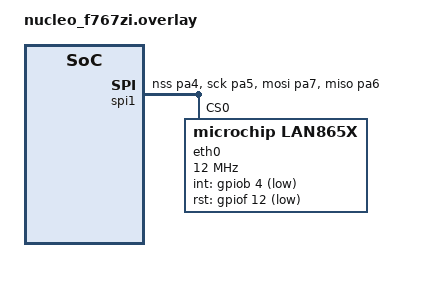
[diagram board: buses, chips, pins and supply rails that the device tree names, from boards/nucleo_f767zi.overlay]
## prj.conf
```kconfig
# Generic networking options
CONFIG_NETWORKING=y
CONFIG_NET_UDP=y
CONFIG_NET_TCP=y
CONFIG_NET_IPV6=y
CONFIG_NET_IPV4=y
CONFIG_NET_SOCKETS=y
CONFIG_POSIX_API=y
CONFIG_NET_CONNECTION_MANAGER=y

# Kernel options
CONFIG_MAIN_STACK_SIZE=2048
CONFIG_ENTROPY_GENERATOR=y
CONFIG_TEST_RANDOM_GENERATOR=y
CONFIG_INIT_STACKS=y

# Logging
CONFIG_NET_LOG=y
CONFIG_LOG=y
CONFIG_NET_STATISTICS=y
CONFIG_PRINTK=y

# Network buffers
CONFIG_NET_PKT_RX_COUNT=16
CONFIG_NET_PKT_TX_COUNT=16
CONFIG_NET_BUF_RX_COUNT=64
CONFIG_NET_BUF_TX_COUNT=64
CONFIG_NET_CONTEXT_NET_PKT_POOL=y

# IP address options
CONFIG_NET_IF_UNICAST_IPV6_ADDR_COUNT=3
CONFIG_NET_IF_MCAST_IPV6_ADDR_COUNT=4
CONFIG_NET_MAX_CONTEXTS=10

# Network shell
CONFIG_NET_SHELL=y
CONFIG_SHELL=y

# Network application options and configuration
CONFIG_NET_CONFIG_SETTINGS=y
CONFIG_NET_CONFIG_NEED_IPV6=y
CONFIG_NET_CONFIG_MY_IPV6_ADDR="2001:db8::1"
CONFIG_NET_CONFIG_PEER_IPV6_ADDR="2001:db8::2"
CONFIG_NET_CONFIG_NEED_IPV4=y
CONFIG_NET_CONFIG_MY_IPV4_ADDR="192.0.2.1"
CONFIG_NET_CONFIG_PEER_IPV4_ADDR="192.0.2.2"

# Number of socket descriptors might need adjusting
# if there are more than 1 handlers defined.
CONFIG_ZVFS_OPEN_MAX=12

# How many client can connect to echo-server simultaneously
CONFIG_NET_SAMPLE_NUM_HANDLERS=1
```

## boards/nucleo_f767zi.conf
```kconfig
# Generic networking options
# CONFIG_NETWORKING=y
# CONFIG_NET_UDP=y
# CONFIG_NET_TCP=y
# CONFIG_NET_IPV6=n
# CONFIG_NET_IPV4=y
# CONFIG_NET_SOCKETS=y
# CONFIG_POSIX_API=y
# CONFIG_NET_CONNECTION_MANAGER=y

# Kernel options
# CONFIG_MAIN_STACK_SIZE=2048
# CONFIG_ENTROPY_GENERATOR=y
# CONFIG_TEST_RANDOM_GENERATOR=y
# CONFIG_INIT_STACKS=y

# Logging
CONFIG_NET_LOG=y
CONFIG_LOG=y
CONFIG_NET_STATISTICS=y
CONFIG_PRINTK=y

# Network buffers
# CONFIG_NET_PKT_RX_COUNT=4
# CONFIG_NET_PKT_TX_COUNT=4
# CONFIG_NET_BUF_RX_COUNT=32
# CONFIG_NET_BUF_TX_COUNT=32
# CONFIG_NET_CONTEXT_NET_PKT_POOL=y

# IP address options
# CONFIG_NET_IF_UNICAST_IPV6_ADDR_COUNT=3
# CONFIG_NET_IF_MCAST_IPV6_ADDR_COUNT=4
# CONFIG_NET_IF_MAX_IPV4_COUNT=2
# CONFIG_NET_MAX_CONTEXTS=10

# Network shell
CONFIG_SERIAL=y
CONFIG_SHELL=y
CONFIG_SHELL_BACKEND_SERIAL=y
CONFIG_NET_SHELL=y

# Network application options and configuration
# CONFIG_NET_CONFIG_SETTINGS=y
# CONFIG_NET_CONFIG_NEED_IPV4=y
# CONFIG_NET_CONFIG_MY_IPV4_ADDR="10.25.11.22"

# Number of socket descriptors might need adjusting
# if there are more than 1 handlers defined.
# CONFIG_ZVFS_OPEN_MAX=12

# IP address options
# CONFIG_NET_MAX_CONTEXTS=2
# CONFIG_NET_MAX_CONN=2

# LAN865x T1S driver specific
CONFIG_NET_L2_ETHERNET=y
CONFIG_NET_PROMISCUOUS_MODE=y
CONFIG_ETH_LAN865X=y
CONFIG_NET_BUF_DATA_SIZE=96

# Debug options
CONFIG_DEBUG_THREAD_INFO=y
```

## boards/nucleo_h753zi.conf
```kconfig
# Generic networking options
CONFIG_NETWORKING=y
CONFIG_NET_UDP=n
CONFIG_NET_TCP=y
CONFIG_NET_IPV6=n
CONFIG_NET_IPV4=y
CONFIG_NET_SOCKETS=y
CONFIG_POSIX_API=y
CONFIG_NET_CONNECTION_MANAGER=y

# Kernel options
CONFIG_MAIN_STACK_SIZE=2048
CONFIG_ENTROPY_GENERATOR=y
CONFIG_TEST_RANDOM_GENERATOR=y
CONFIG_INIT_STACKS=y

# Logging
CONFIG_NET_LOG=y
CONFIG_LOG=y
CONFIG_NET_STATISTICS=y
CONFIG_PRINTK=y

# Network buffers
CONFIG_NET_PKT_RX_COUNT=4
CONFIG_NET_PKT_TX_COUNT=4
CONFIG_NET_BUF_RX_COUNT=32
CONFIG_NET_BUF_TX_COUNT=32
CONFIG_NET_CONTEXT_NET_PKT_POOL=y

# IP address options
CONFIG_NET_MAX_CONTEXTS=2
CONFIG_NET_MAX_CONN=2

# Network shell
CONFIG_SERIAL=y
CONFIG_SHELL=y
CONFIG_SHELL_BACKEND_SERIAL=y
CONFIG_NET_SHELL=y

# Network application options and configuration
CONFIG_NET_CONFIG_SETTINGS=y
CONFIG_NET_CONFIG_NEED_IPV4=y
CONFIG_NET_CONFIG_NEED_IPV6=n
CONFIG_NET_CONFIG_MY_IPV4_NETMASK="255.255.255.0"
CONFIG_NET_CONFIG_MY_IPV4_ADDR="192.0.2.1"
CONFIG_NET_CONFIG_PEER_IPV4_ADDR="192.0.2.2"
CONFIG_NET_CONFIG_AUTO_INIT=y

# How many client can connect to echo-server simultaneously
CONFIG_NET_SAMPLE_NUM_HANDLERS=1

# LAN865x T1S driver specific
CONFIG_NET_L2_ETHERNET=y
# CONFIG_NET_PROMISCUOUS_MODE=y
CONFIG_ETH_LAN865X=y
# CONFIG_ETH_LAN865X_LOG_LEVEL_DBG=y
CONFIG_NET_BUF_DATA_SIZE=128

# Debug options
CONFIG_DEBUG_THREAD_INFO=y
```

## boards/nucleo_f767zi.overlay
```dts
/* Enable SPI1 & lower its address/size cells so we can add child nodes */
&spi1 {
    #address-cells = <1>;
    #size-cells    = <0>;
    status = "okay";
    /* CS on PD14 */
    //cs-gpios      = <&gpioa 4 GPIO_ACTIVE_LOW>;
    pinctrl-0     = <&spi1_nss_pa4 &spi1_sck_pa5 &spi1_mosi_pa7 &spi1_miso_pa6>;
    pinctrl-names = "default";

    /* ---------- LAN865x MAC‑PHY ------------------------------------------ */
    eth0: lan865x@0 {
        compatible         = "microchip,lan865x";
        reg                = <0>;              /* CS# 0 on this SPI bus      */
        spi-max-frequency  = <12000000>;
        int-gpios          = <&gpiob 4 GPIO_ACTIVE_LOW>;
        rst-gpios          = <&gpiof 12 GPIO_ACTIVE_LOW>;
        local-mac-address  = [00 19 05 00 00 04];

        lan865x_mdio: lan865x_mdio {
            compatible = "microchip,lan865x-mdio";
            status = "okay";
            #address-cells = <1>;
            #size-cells = <0>;
            ethernet-phy@0 {
                compatible = "microchip,t1s-phy";
                reg = <0x0>;
                plca-enable;
                plca-node-id = <0>;
                plca-node-count = <8>;
                plca-burst-count = <0>;
                plca-burst-timer = <0x80>;
                plca-to-timer = <0x20>;
                status = "okay";
            };
        };
        
        status = "okay";        
    };
};


&pinctrl {
    spi1_nss_pa4 {
        pinmux    = <STM32_PINMUX('A', 4, AF5)>;
        bias-pull-down;
        drive-push-pull;
        slew-rate = "very-high-speed";
    };

    spi1_sck_pa5 {
        pinmux    = <STM32_PINMUX('A', 5, AF5)>;
        bias-pull-down;
        drive-push-pull;
        slew-rate = "very-high-speed";
    };

    spi1_mosi_pa7 {
        pinmux    = <STM32_PINMUX('A', 7, AF5)>;
        bias-pull-down;
        drive-push-pull;
        slew-rate = "very-high-speed";
    };

    spi1_miso_pa6 {
        pinmux    = <STM32_PINMUX('A', 6, AF5)>;
        bias-pull-down;
        drive-push-pull;
        slew-rate = "very-high-speed";
    };
};
```

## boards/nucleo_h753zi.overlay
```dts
/* Enable SPI1 & lower its address/size cells so we can add child nodes */
&spi1 {
    #address-cells = <1>;
    #size-cells    = <0>;
    status = "okay";
    // /* CS on PD14 */
    cs-gpios      = <&gpiod 14 GPIO_ACTIVE_LOW>;
    pinctrl-0     = <&spi1_sck_pa5 &spi1_mosi_pb5 &spi1_miso_pa6>;
    pinctrl-names = "default";

    /* ---------- LAN865x MAC‑PHY ------------------------------------------ */
    eth0: lan865x@0 {
        compatible         = "microchip,lan865x";
        reg                = <0>;              /* CS# 0 on this SPI bus      */
        spi-max-frequency  = <25000000>;
        int-gpios          = <&gpiob 4 GPIO_ACTIVE_LOW>;
        rst-gpios          = <&gpiof 3 GPIO_ACTIVE_LOW>;
        local-mac-address  = [00 19 05 00 00 04];

        lan865x_mdio: lan865x_mdio {
            compatible = "microchip,lan865x-mdio";
            status = "okay";
            #address-cells = <1>;
            #size-cells = <0>;
            ethernet-phy@0 {
                compatible = "microchip,t1s-phy";
                reg = <0x0>;
                plca-enable;
                plca-node-id = <0>;
                plca-node-count = <2>;
                plca-burst-count = <4>;
                plca-burst-timer = <0>;
                plca-to-timer = <0x20>;
                status = "okay";
            };
        };   
                
        status = "okay";        
    };
};

&{/soc/ethernet@40028000}{
    status = "disabled";
};
&{/soc/ethernet@40028000/ethernet}{
    status = "disabled";
};

&{/soc/ethernet@40028000/mdio}{
    status = "disabled";
};

&{/soc/ethernet@40028000/mdio/ethernet-phy@0}{
    status = "disabled";
};


&pinctrl {
    spi1_cs_pd14: spi1_cs_pd14 {
        pinmux = <STM32_PINMUX('D', 14, GPIO)>;   /* <-- GPIO, not AF5 */
        drive-push-pull;
        bias-pull-up;
        slew-rate = "very-high-speed";
    };

    spi1_sck_pa5 {
        pinmux    = <STM32_PINMUX('A', 5, AF5)>;
        bias-pull-down;
        drive-push-pull;
        slew-rate = "very-high-speed";
    };

    spi1_mosi_pb5 {
        pinmux    = <STM32_PINMUX('B', 5, AF5)>;
        bias-pull-down;
        drive-push-pull;
        slew-rate = "very-high-speed";
    };

    spi1_miso_pa6 {
        pinmux    = <STM32_PINMUX('A', 6, AF5)>;
        bias-pull-down;
        drive-push-pull;
        slew-rate = "very-high-speed";
    };
};
```

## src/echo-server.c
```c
/* echo-server.c - Networking echo server */

/*
 * Copyright (c) 2016 Intel Corporation.
 * Copyright (c) 2018 Nordic Semiconductor ASA.
 *
 * SPDX-License-Identifier: Apache-2.0
 */

#include <zephyr/logging/log.h>
LOG_MODULE_REGISTER(net_echo_server_sample, LOG_LEVEL_INF);

#include <zephyr/kernel.h>
#include <zephyr/linker/sections.h>
#include <errno.h>
#include <zephyr/shell/shell.h>

#include <zephyr/net/net_core.h>
#include <zephyr/net/tls_credentials.h>

#include <zephyr/net/net_mgmt.h>
#include <zephyr/net/net_event.h>
#include <zephyr/net/conn_mgr_monitor.h>
#include <zephyr/net/ethernet.h>
#include <zephyr/net/ethernet_mgmt.h>

#include "common.h"
#include "certificate.h"

#define APP_BANNER "Run echo server"

static struct k_sem quit_lock;
static struct net_mgmt_event_callback mgmt_cb;
static bool connected;
K_SEM_DEFINE(run_app, 0, 1);
static bool want_to_quit;

#if defined(CONFIG_USERSPACE)
K_APPMEM_PARTITION_DEFINE(app_partition);
struct k_mem_domain app_domain;
#endif

#define EVENT_MASK (NET_EVENT_L4_CONNECTED | \
		    NET_EVENT_L4_DISCONNECTED)

APP_DMEM struct configs conf = {
	.ipv4 = {
		.proto = "IPv4",
	},
	.ipv6 = {
		.proto = "IPv6",
	},
};

void quit(void)
{
	k_sem_give(&quit_lock);
}

static void start_udp_and_tcp(void)
{
	LOG_INF("Starting...");

	if (IS_ENABLED(CONFIG_NET_TCP)) {
		start_tcp();
	}

	if (IS_ENABLED(CONFIG_NET_UDP)) {
		start_udp();
	}
}

static void stop_udp_and_tcp(void)
{
	LOG_INF("Stopping...");

	if (IS_ENABLED(CONFIG_NET_UDP)) {
		stop_udp();
	}

	if (IS_ENABLED(CONFIG_NET_TCP)) {
		stop_tcp();
	}
}

static void event_handler(struct net_mgmt_event_callback *cb,
			  uint64_t mgmt_event, struct net_if *iface)
{
	ARG_UNUSED(iface);
	ARG_UNUSED(cb);

	if ((mgmt_event & EVENT_MASK) != mgmt_event) {
		return;
	}

	if (want_to_quit) {
		k_sem_give(&run_app);
		want_to_quit = false;
	}

	if (mgmt_event == NET_EVENT_L4_CONNECTED) {
		LOG_INF("Network connected");

		connected = true;
		k_sem_give(&run_app);

		return;
	}

	if (mgmt_event == NET_EVENT_L4_DISCONNECTED) {
		if (connected == false) {
			LOG_INF("Waiting network to be connected");
		} else {
			LOG_INF("Network disconnected");
			connected = false;
		}

		k_sem_reset(&run_app);

		return;
	}
}

static const uint8_t mac_addr_change[6] = { 0xAA, 0xBB, 0xCC,
					 0x01,  0x02,  0x03 };
static int init_macaddr(void)
{
	struct ethernet_req_params params;
	struct net_if *iface = net_if_get_default();
	int ret;

	net_if_down(iface);
	memcpy(params.mac_address.addr, mac_addr_change, 6);

	ret = net_mgmt(NET_REQUEST_ETHERNET_SET_MAC_ADDRESS,
	               iface, &params,
	               sizeof(struct ethernet_req_params));
	net_if_up(iface);

	return ret;
}

static void init_app(void)
{
#if defined(CONFIG_USERSPACE)
	struct k_mem_partition *parts[] = {
#if Z_LIBC_PARTITION_EXISTS
		&z_libc_partition,
#endif
		&app_partition
	};

	int ret = k_mem_domain_init(&app_domain, ARRAY_SIZE(parts), parts);

	__ASSERT(ret == 0, "k_mem_domain_init() failed %d", ret);
	ARG_UNUSED(ret);
#endif

	k_sem_init(&quit_lock, 0, K_SEM_MAX_LIMIT);

	LOG_INF(APP_BANNER);

#if defined(CONFIG_NET_SOCKETS_SOCKOPT_TLS)
	int err;

#if defined(CONFIG_NET_SAMPLE_CERTS_WITH_SC)
	err = tls_credential_add(SERVER_CERTIFICATE_TAG,
				 TLS_CREDENTIAL_CA_CERTIFICATE,
				 ca_certificate,
				 sizeof(ca_certificate));
	if (err < 0) {
		LOG_ERR("Failed to register CA certificate: %d", err);
	}
#endif /* defined(CONFIG_NET_SAMPLE_CERTS_WITH_SC) */

	err = tls_credential_add(SERVER_CERTIFICATE_TAG,
				 TLS_CREDENTIAL_PUBLIC_CERTIFICATE,
				 server_certificate,
				 sizeof(server_certificate));
	if (err < 0) {
		LOG_ERR("Failed to register public certificate: %d", err);
	}


	err = tls_credential_add(SERVER_CERTIFICATE_TAG,
				 TLS_CREDENTIAL_PRIVATE_KEY,
				 private_key, sizeof(private_key));
	if (err < 0) {
		LOG_ERR("Failed to register private key: %d", err);
	}

#if defined(CONFIG_MBEDTLS_KEY_EXCHANGE_PSK_ENABLED)
	err = tls_credential_add(PSK_TAG,
				TLS_CREDENTIAL_PSK,
				psk,
				sizeof(psk));
	if (err < 0) {
		LOG_ERR("Failed to register PSK: %d", err);
	}
	err = tls_credential_add(PSK_TAG,
				TLS_CREDENTIAL_PSK_ID,
				psk_id,
				sizeof(psk_id) - 1);
	if (err < 0) {
		LOG_ERR("Failed to register PSK ID: %d", err);
	}
#endif /* defined(CONFIG_MBEDTLS_KEY_EXCHANGE_PSK_ENABLED) */
#endif /* defined(CONFIG_NET_SOCKETS_SOCKOPT_TLS) */

	if (IS_ENABLED(CONFIG_NET_CONNECTION_MANAGER)) {
		net_mgmt_init_event_callback(&mgmt_cb,
					     event_handler, EVENT_MASK);
		net_mgmt_add_event_callback(&mgmt_cb);

		conn_mgr_mon_resend_status();
	}

	init_vlan();
	init_tunnel();
	init_ws();
	init_usb();
	init_macaddr();
}

static int cmd_sample_quit(const struct shell *sh,
			  size_t argc, char *argv[])
{
	want_to_quit = true;

	conn_mgr_mon_resend_status();

	quit();

	return 0;
}

SHELL_STATIC_SUBCMD_SET_CREATE(sample_commands,
	SHELL_CMD(quit, NULL,
		  "Quit the sample application\n",
		  cmd_sample_quit),
	SHELL_SUBCMD_SET_END
);

SHELL_CMD_REGISTER(sample, &sample_commands,
		   "Sample application commands", NULL);

int main(void)
{
	init_app();

	if (!IS_ENABLED(CONFIG_NET_CONNECTION_MANAGER)) {
		/* If the config library has not been configured to start the
		 * app only after we have a connection, then we can start
		 * it right away.
		 */
		k_sem_give(&run_app);
	}

	/* Wait for the connection. */
	k_sem_take(&run_app, K_FOREVER);

	start_udp_and_tcp();

	k_sem_take(&quit_lock, K_FOREVER);

	if (connected) {
		stop_udp_and_tcp();
	}
	return 0;
}
```
